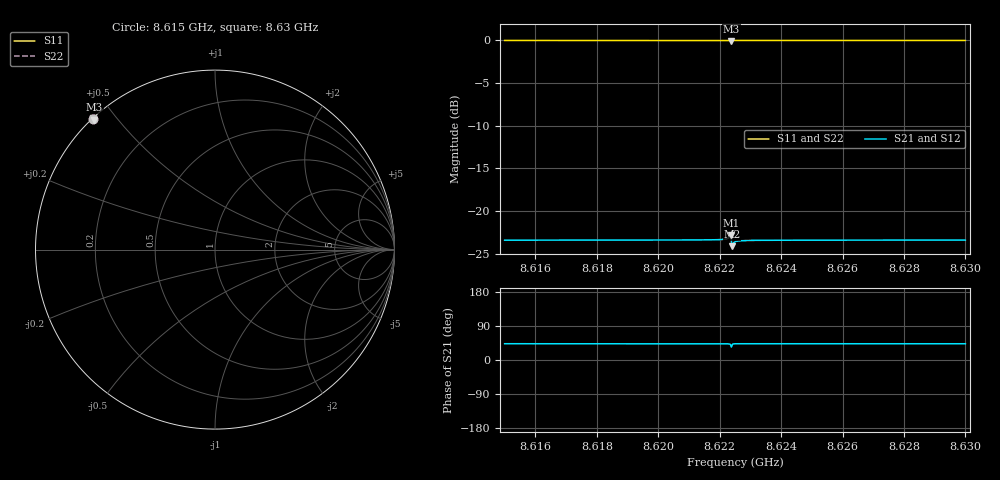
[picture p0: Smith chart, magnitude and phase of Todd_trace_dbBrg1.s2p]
! Sonnet Data File
! From: emgraph Version : 16.52
! From Emgraph Data: 171114transmon_trace_brgDb
! Data File Written: 11/14/2017 21:02:26
!< HDATE 11/14/2017 20:26:01
!< MDATE 11/14/2017 20:26:01
!< PARAMS
!< Lj = 15.24
!< Gap = 14.0
!< Width = 10.0
!< Pwidth = 2000.0
!< Dist = 800.0
!< Dist1 = 1600.0
!< END PARAMS
# GHZ S MA R 34.87000
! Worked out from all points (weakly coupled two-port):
!   3597 points, 8.615 GHz to 8.63 GHz, reference 34.87 ohm
!   highest |S21| = -22.76 dB at 8.62237 GHz (marker M1); lowest = -24.1 dB at 8.6224 GHz (marker M2)
!   lowest |S11| = -0.1 dB at 8.62238 GHz (marker M3), VSWR 156.94, Z = 0.264 + j15.2 ohm
!   |S11| at or under -10 dB: nowhere
!   |S22| runs from -0.1 to 0.0 dB; largest |S21 - S12| = 1.6e-11
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8.615  0.9977 132.9  0.06772 42.9  0.06772 42.9  0.9977 132.9
!< P1 F=8.615 Eeff=(5.13377404 -5.6313e-5) Z0=(34.6595714 -9.1612e-5) R=0.0 C=0.0
!< P2 F=8.615 Eeff=(5.13377404 -5.6313e-5) Z0=(34.6595714 -9.1612e-5) R=0.0 C=0.0
8.6175  0.9977 132.9  0.06776 42.9  0.06776 42.9  0.9977 132.9
8.62  0.9977 132.9  0.06782 42.9  0.06782 42.9  0.9977 132.9
8.621945  0.9977 132.9  0.06818 42.9  0.06818 42.9  0.9977 132.9
8.622185  0.9976 132.9  0.06868 42.8  0.06868 42.8  0.9976 132.9
8.62224  0.9975 132.8  0.06902 42.7  0.06902 42.7  0.9975 132.8
8.62229  0.9972 132.8  0.06966 42.5  0.06966 42.5  0.9972 132.8
8.6223  0.9971 132.8  0.06987 42.4  0.06987 42.4  0.9971 132.8
8.622365  0.9918 132.6  0.07276 38.3  0.07276 38.3  0.9919 132.6
8.62238  0.9873 132.9  0.06866 34.3  0.06866 34.3  0.9875 132.9
8.6224  0.9931 133.2  0.06246 38.7  0.06246 38.7  0.9932 133.2
8.62247  0.9974 133.0  0.06576 42.7  0.06576 42.7  0.9974 133.0
8.62248  0.9975 133.0  0.06596 42.7  0.06596 42.7  0.9975 133.0
8.622483  0.9975 133.0  0.066 42.7  0.066 42.7  0.9975 133.0
8.622486  0.9975 133.0  0.06605 42.8  0.06605 42.8  0.9975 133.0
8.6225  0.9976 133.0  0.06625 42.8  0.06625 42.8  0.9976 133.0
8.62252  0.9976 133.0  0.06646 42.8  0.06646 42.8  0.9976 133.0
8.622655  0.9977 132.9  0.0671 42.9  0.0671 42.9  0.9977 132.9
8.62295  0.9977 132.9  0.06745 42.9  0.06745 42.9  0.9977 132.9
8.625  0.9977 132.9  0.06772 42.9  0.06772 42.9  0.9977 132.9
8.6275  0.9977 132.9  0.06778 42.9  0.06778 42.9  0.9977 132.9
8.63  0.9977 132.9  0.06781 42.9  0.06781 42.9  0.9977 132.9
